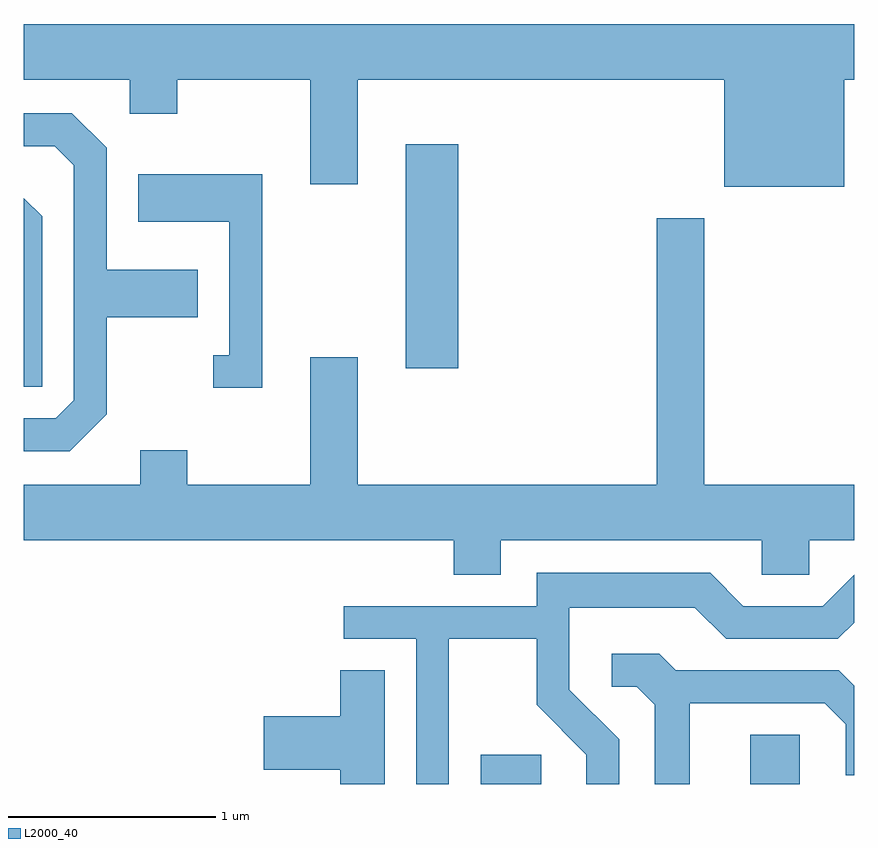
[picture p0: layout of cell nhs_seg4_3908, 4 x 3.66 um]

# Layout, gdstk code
import gdstk
lib = gdstk.Library(unit=1e-6, precision=1e-09)
def R(c, l, rs):  # rectangles x0, y0, x1, y1
    for r in rs: c.add(gdstk.rectangle(r[:2], r[2:], *l))
def P(c, l, *ps):  # polygons
    for p in ps: c.add(gdstk.Polygon(p, *l))
L2000_40 = (2000, 40)

nhs_seg4_3908 = lib.new_cell('nhs_seg4_3908')
R(nhs_seg4_3908, L2000_40, [(301.811,1317.982,302.104,1318.124), (303.111,1317.982,303.349,1318.219), (301.451,1319.986,301.704,1321.064)])
P(nhs_seg4_3908, L2000_40, [(303.564,1321.376),(303.611,1321.376),(303.611,1321.644),(299.611,1321.644),(299.611,1321.376),(300.121,1321.376),(300.121,1321.211),(300.349,1321.211),(300.349,1321.376),(300.991,1321.376),(300.991,1320.871),(301.219,1320.871),(301.219,1321.376),(302.986,1321.376),(302.986,1320.861),(303.564,1320.861)],
  [(300.009,1319.764),(300.009,1320.231),(300.449,1320.231),(300.449,1320.459),(300.009,1320.459),(300.009,1321.047),(299.842,1321.214),(299.611,1321.214),(299.611,1321.056),(299.759,1321.056),(299.851,1320.964),(299.851,1319.832),(299.764,1319.744),(299.611,1319.744),(299.611,1319.586),(299.832,1319.586)],
  [(300.759,1320.919),(300.161,1320.919),(300.161,1320.691),(300.601,1320.691),(300.601,1320.049),(300.523,1320.049),(300.523,1319.891),(300.759,1319.891)],
  [(299.699,1320.717),(299.611,1320.805),(299.611,1319.896),(299.699,1319.896)],
  [(301.909,1319.156),(303.166,1319.156),(303.166,1318.991),(303.394,1318.991),(303.394,1319.156),(303.611,1319.156),(303.611,1319.424),(302.889,1319.424),(302.889,1320.709),(302.661,1320.709),(302.661,1319.424),(301.219,1319.424),(301.219,1320.039),(300.991,1320.039),(300.991,1319.424),(300.399,1319.424),(300.399,1319.589),(300.171,1319.589),(300.171,1319.424),(299.611,1319.424),(299.611,1319.156),(301.681,1319.156),(301.681,1318.991),(301.909,1318.991)],
  [(301.659,1318.681),(302.081,1318.681),(302.081,1318.364),(302.321,1318.124),(302.321,1317.982),(302.479,1317.982),(302.479,1318.197),(302.239,1318.437),(302.239,1318.831),(302.844,1318.831),(302.994,1318.681),(303.532,1318.681),(303.611,1318.76),(303.611,1318.991),(303.459,1318.839),(303.077,1318.839),(302.917,1318.999),(302.081,1318.999),(302.081,1318.839),(301.153,1318.839),(301.153,1318.681),(301.501,1318.681),(301.501,1317.982),(301.659,1317.982)],
  [(302.819,1318.371),(303.469,1318.371),(303.571,1318.269),(303.571,1318.023),(303.611,1318.023),(303.611,1318.455),(303.537,1318.529),(302.752,1318.529),(302.672,1318.609),(302.443,1318.609),(302.443,1318.451),(302.564,1318.451),(302.651,1318.364),(302.651,1317.982),(302.819,1317.982)],
  [(301.349,1318.529),(301.136,1318.529),(301.136,1318.309),(300.766,1318.309),(300.766,1318.051),(301.136,1318.051),(301.136,1317.982),(301.349,1317.982)])

lib.write_gds('nhs_seg4_3908.gds')
